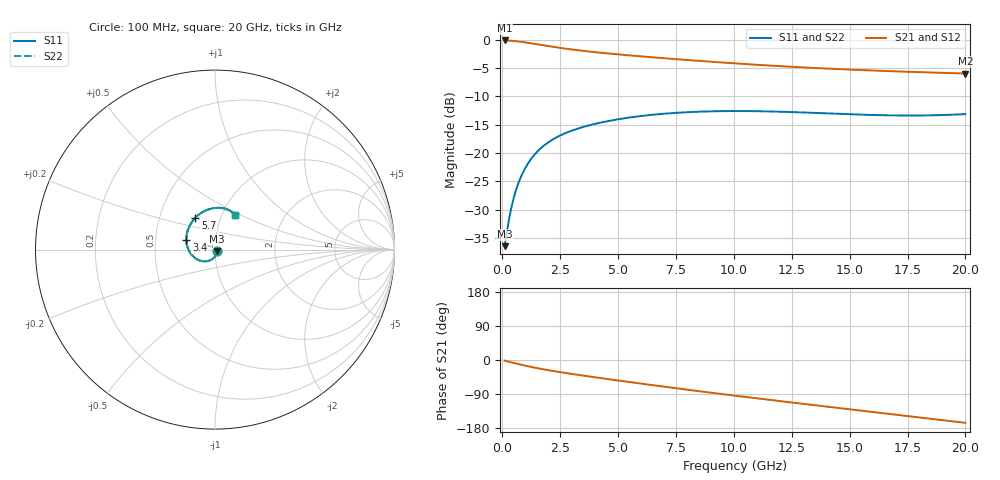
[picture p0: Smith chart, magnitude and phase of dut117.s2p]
! Created with skrf 1.9.0 (http://scikit-rf.org).
# GHz S RI R 50.0
!freq ReS11 ImS11 ReS21 ImS21 ReS12 ImS12 ReS22 ImS22
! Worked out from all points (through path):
!   200 points, 100 MHz to 20 GHz, reference 50 ohm
!   highest |S21| = -0.12 dB at 100 MHz (marker M1); lowest = -6.0 dB at 20 GHz (marker M2)
!   group delay of S21, straight-line fit = 21.7 ps
!   lowest |S11| = -36.5 dB at 100 MHz (marker M3), VSWR 1.03, Z = 51.2 - j0.879 ohm
!   |S11| at or under -10 dB: start of sweep to end of sweep
!   |S22| runs from -36.5 to -12.6 dB; largest |S21 - S12| = 1.8e-15
!   S11 on the Smith chart (normalised r, x): 100 MHz: 1.02, -0.02; 3.4 GHz: 0.72, +0.08; 5.7 GHz: 0.76, +0.28; 20 GHz: 1.14, +0.46
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0.1  0.0123 -0.00858  0.9862 -0.0277  0.9862 -0.0277  0.0123 -0.00858
0.3  0.00763 -0.0255  0.9794 -0.082  0.9794 -0.082  0.00763 -0.0255
0.5  -0.00159 -0.0405  0.9665 -0.1338  0.9665 -0.1338  -0.00159 -0.0405
0.6  -0.00767 -0.0469  0.9582 -0.1584  0.9582 -0.1584  -0.00767 -0.0469
0.8  -0.0221 -0.0571  0.9383 -0.2048  0.9383 -0.2048  -0.0221 -0.0571
1.1  -0.0471 -0.065  0.9028 -0.2664  0.9028 -0.2664  -0.0471 -0.065
1.5  -0.0813 -0.0621  0.8499 -0.3342  0.8499 -0.3342  -0.0813 -0.0621
2  -0.1174 -0.0421  0.7826 -0.3997  0.7826 -0.3997  -0.1174 -0.0421
2.6  -0.1458 -0.00471  0.7059 -0.4594  0.7059 -0.4594  -0.1458 -0.00471
3.4  -0.1595 0.0514  0.6113 -0.5199  0.6113 -0.5199  -0.1595 0.0514
3.5  -0.1596 0.0583  0.5999 -0.5264  0.5999 -0.5264  -0.1596 0.0583
4.6  -0.1442 0.1267  0.4788 -0.5856  0.4788 -0.5856  -0.1442 0.1267
5.7  -0.1096 0.1774  0.362 -0.6248  0.362 -0.6248  -0.1096 0.1774
6.8  -0.0675 0.2101  0.2494 -0.6455  0.2494 -0.6455  -0.0675 0.2101
8.4  -0.00719 0.2312  0.0962 -0.6462  0.0962 -0.6462  -0.00719 0.2312
10.1  0.045 0.2304  -0.0485 -0.6159  -0.0485 -0.6159  0.045 0.2304
11.7  0.0792 0.2186  -0.1659 -0.5658  -0.1659 -0.5658  0.0792 0.2186
13.4  0.1004 0.203  -0.2708 -0.4956  -0.2708 -0.4956  0.1004 0.203
15.1  0.1095 0.1903  -0.3558 -0.4121  -0.3558 -0.4121  0.1095 0.1903
16.7  0.111 0.1842  -0.4179 -0.324  -0.4179 -0.324  0.111 0.1842
18.4  0.1095 0.185  -0.4642 -0.2228  -0.4642 -0.2228  0.1095 0.185
20  0.1087 0.1918  -0.4885 -0.1231  -0.4885 -0.1231  0.1087 0.1918
